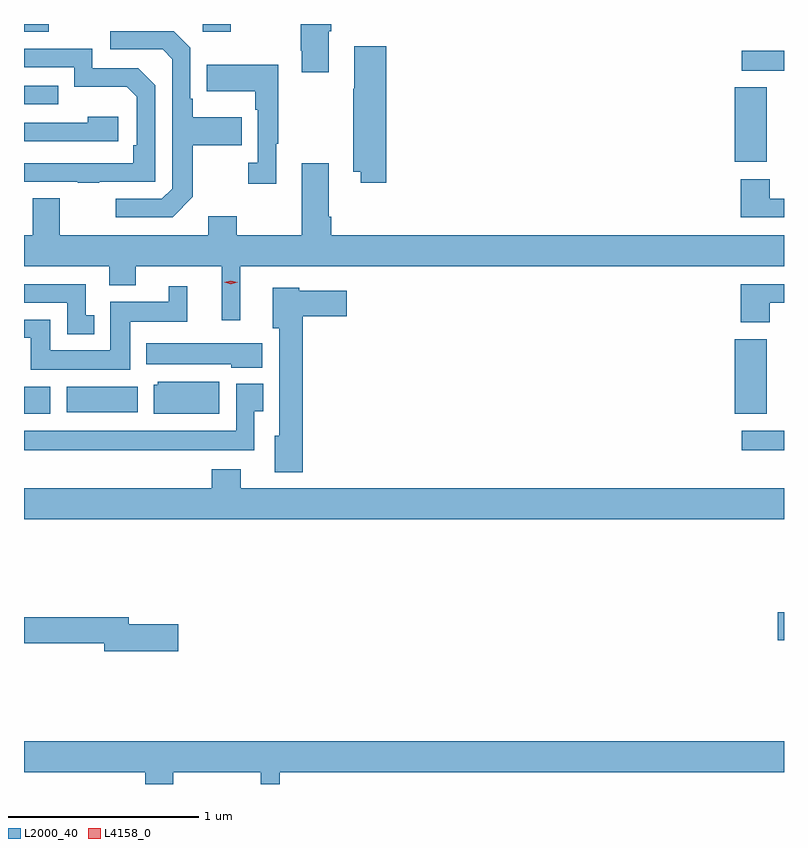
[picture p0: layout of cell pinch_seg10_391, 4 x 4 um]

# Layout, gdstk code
import gdstk
lib = gdstk.Library(unit=1e-6, precision=1e-09)
def R(c, l, rs):  # rectangles x0, y0, x1, y1
    for r in rs: c.add(gdstk.rectangle(r[:2], r[2:], *l))
def P(c, l, *ps):  # polygons
    for p in ps: c.add(gdstk.Polygon(p, *l))
L2000_40 = (2000, 40)
L4158_0 = (4158, 0)

pinch_seg10_391 = lib.new_cell('pinch_seg10_391')
R(pinch_seg10_391, L2000_40, [(387.78,1295.684,387.814,1295.831), (387.591,1296.683,387.814,1296.787), (383.814,1296.875,383.953,1297.018), (387.554,1296.875,387.724,1297.267), (384.038,1296.884,384.412,1297.018), (387.554,1298.201,387.724,1298.593), (383.814,1298.505,383.993,1298.601), (387.591,1298.681,387.814,1298.785), (383.814,1298.885,383.943,1298.927), (384.756,1298.885,384.903,1298.927)])
P(pinch_seg10_391, L2000_40, [(385.417,1298.888),(385.43,1298.888),(385.43,1298.927),(385.27,1298.927),(385.27,1298.785),(385.277,1298.785),(385.277,1298.673),(385.417,1298.673)],
  [(384.703,1298.017),(384.703,1298.29),(384.959,1298.29),(384.959,1298.437),(384.703,1298.437),(384.703,1298.533),(384.69,1298.533),(384.69,1298.802),(384.603,1298.889),(384.267,1298.889),(384.267,1298.793),(384.543,1298.793),(384.594,1298.742),(384.594,1298.061),(384.54,1298.007),(384.297,1298.007),(384.297,1297.911),(384.597,1297.911)],
  [(385.721,1298.809),(385.553,1298.809),(385.553,1298.585),(385.546,1298.585),(385.546,1298.15),(385.586,1298.15),(385.586,1298.091),(385.721,1298.091)],
  [(384.209,1298.097),(384.504,1298.097),(384.504,1298.604),(384.414,1298.694),(384.174,1298.694),(384.174,1298.796),(383.814,1298.796),(383.814,1298.7),(384.078,1298.7),(384.078,1298.597),(384.355,1298.597),(384.408,1298.544),(384.408,1298.29),(384.388,1298.29),(384.388,1298.193),(383.814,1298.193),(383.814,1298.097),(384.097,1298.097),(384.097,1298.092),(384.209,1298.092)],
  [(385.141,1298.297),(385.153,1298.297),(385.153,1298.713),(384.775,1298.713),(384.775,1298.573),(385.032,1298.573),(385.032,1298.477),(385.044,1298.477),(385.044,1298.198),(384.993,1298.198),(384.993,1298.085),(385.141,1298.085)],
  [(384.31,1298.44),(384.149,1298.44),(384.149,1298.406),(383.814,1298.406),(383.814,1298.31),(384.31,1298.31)],
  [(384.785,1297.816),(384.001,1297.816),(384.001,1298.011),(383.861,1298.011),(383.861,1297.816),(383.814,1297.816),(383.814,1297.652),(384.263,1297.652),(384.263,1297.553),(384.403,1297.553),(384.403,1297.652),(384.854,1297.652),(384.854,1297.368),(384.952,1297.368),(384.952,1297.652),(387.814,1297.652),(387.814,1297.816),(385.43,1297.816),(385.43,1297.912),(385.417,1297.912),(385.417,1298.194),(385.277,1298.194),(385.277,1297.816),(384.933,1297.816),(384.933,1297.915),(384.785,1297.915)],
  [(387.814,1298.007),(387.738,1298.007),(387.738,1298.11),(387.587,1298.11),(387.587,1297.911),(387.814,1297.911)],
  [(387.738,1297.461),(387.814,1297.461),(387.814,1297.557),(387.587,1297.557),(387.587,1297.358),(387.738,1297.358)],
  [(384.184,1297.395),(384.138,1297.395),(384.138,1297.557),(383.814,1297.557),(383.814,1297.461),(384.042,1297.461),(384.042,1297.295),(384.184,1297.295)],
  [(384.373,1297.361),(384.674,1297.361),(384.674,1297.546),(384.575,1297.546),(384.575,1297.465),(384.269,1297.465),(384.269,1297.21),(383.953,1297.21),(383.953,1297.371),(383.814,1297.371),(383.814,1297.275),(383.849,1297.275),(383.849,1297.106),(384.373,1297.106)],
  [(385.28,1297.388),(385.513,1297.388),(385.513,1297.522),(385.263,1297.522),(385.263,1297.54),(385.124,1297.54),(385.124,1297.326),(385.157,1297.326),(385.157,1296.759),(385.133,1296.759),(385.133,1296.569),(385.28,1296.569)],
  [(385.069,1297.246),(384.458,1297.246),(384.458,1297.136),(384.906,1297.136),(384.906,1297.118),(385.069,1297.118)],
  [(384.841,1297.045),(384.519,1297.045),(384.519,1297.029),(384.497,1297.029),(384.497,1296.875),(384.841,1296.875)],
  [(385.027,1296.889),(385.072,1296.889),(385.072,1297.033),(384.93,1297.033),(384.93,1296.787),(383.814,1296.787),(383.814,1296.683),(385.027,1296.683)],
  [(387.814,1296.484),(384.955,1296.484),(384.955,1296.583),(384.803,1296.583),(384.803,1296.484),(383.814,1296.484),(383.814,1296.32),(387.814,1296.32)],
  [(384.625,1295.768),(384.364,1295.768),(384.364,1295.804),(383.814,1295.804),(383.814,1295.668),(384.236,1295.668),(384.236,1295.626),(384.625,1295.626)],
  [(384.6,1294.988),(385.061,1294.988),(385.061,1294.927),(385.16,1294.927),(385.16,1294.988),(387.814,1294.988),(387.814,1295.152),(383.814,1295.152),(383.814,1294.988),(384.452,1294.988),(384.452,1294.927),(384.6,1294.927)])
P(pinch_seg10_391, L4158_0, [(384.903,1297.557),(384.867,1297.567),(384.867,1297.567),(384.867,1297.567),(384.903,1297.577),(384.938,1297.567),(384.939,1297.567),(384.938,1297.567)])

lib.write_gds('pinch_seg10_391.gds')
